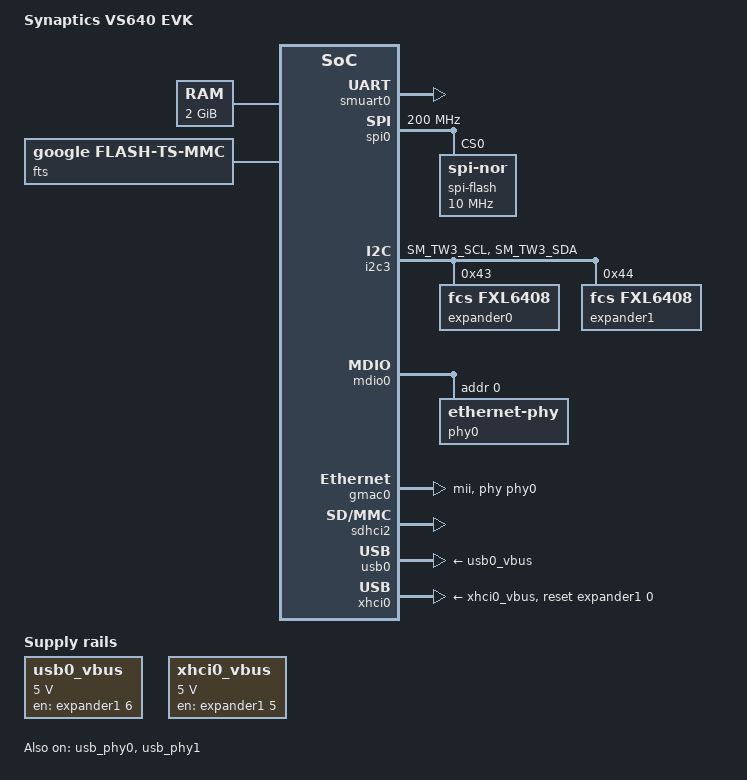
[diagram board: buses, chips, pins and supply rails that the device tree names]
/* SPDX-License-Identifier: GPL-2.0+ */
/*
 * Copyright (C) 2019 Synaptics Incorporated
 *
 * Author: Shaojun Feng <Shaojun.Feng@synaptics.com>
 *
 */

/dts-v1/;

#include "vs640.dtsi"
#include "include/dt-bindings/gpio/gpio.h"
#include "berlin-fastboot-gui.dtsi"

/ {
	model = "Synaptics VS640 EVK";
	compatible = "Synaptics,vs640", "Synaptics,asserial";

	memory {
		device_type = "memory";
		reg = <0 0 0 0x80000000>;
	};

	fts {
		compatible = "google,flash-ts-mmc";
	};

	chosen {
        stdout-path = &smuart0;
    };

	regulators {
		compatible = "simple-bus";
		#address-cells = <1>;
		#size-cells = <0>;

		usb0_vbus: regulator@0 {
			compatible = "regulator-fixed";
			regulator-name = "usb0_vbus";
			regulator-min-microvolt = <5000000>;
			regulator-max-microvolt = <5000000>;
			gpio = <&expander1 6 GPIO_ACTIVE_HIGH>;
			enable-active-high;
		};

		xhci0_vbus: xhci0_vbus {
			compatible = "regulator-fixed";
			regulator-name = "xhci0_vbus";
			regulator-min-microvolt = <5000000>;
			regulator-max-microvolt = <5000000>;
			gpio = <&expander1 5 GPIO_ACTIVE_HIGH>;
			enable-active-high;
		};
	};
};

&sysmgr_pinctrl {
	sm_i2c_tw3_pmux: sm_i2c_tw3_pmux {
		groups = "SM_TW3_SCL", "SM_TW3_SDA";
		function = "tw3";
	};
};

&pinctrl {
	usb_vbus_pmux: usb_vbus_pmux {
		groups = "USB2_DRV_VBUS";
		function = "gpio";
	};
};

&CPU_SLEEP_0 {
	status = "disabled";
};

&smuart0 {
	status = "okay";
};

&spi0 {
	status = "okay";
	max-write-size = <128>;
	clock-frequency = <200000000>;
	spi-flash@0 {
		#address-cells = <1>;
		#size-cells = <1>;
		compatible = "jedec,spi-nor";
		reg = <0>;
		memory-map = <0x0 0xf0000000 0x0 0x4000000>;
		spi-max-frequency = <10000000>;
        };
};

&i2c3 {
	status = "okay";
	pinctrl-names = "default";
	pinctrl-0 = <&sm_i2c_tw3_pmux>;
	expander0: gpio@43 {
		compatible = "fcs,fxl6408";
		reg = <0x43>;
		gpio-controller;
		#gpio-cells = <2>;
	};

	expander1: gpio@44 {
		compatible = "fcs,fxl6408";
		reg = <0x44>;
		gpio-controller;
		#gpio-cells = <2>;
	};
};

&mdio0 {
	phy0: ethernet-phy@0 {
		reg = <0>;
	};
};

&gmac0 {
	status = "okay";
	max-speed = <100>;
	phy-mode = "mii";
	phy-handle = <&phy0>;
	phy = <&phy0>;
};

&sdhci2 {
    status = "okay";
	max-frequency = <50000000>;
	cap-mmc-highspeed;
	1_8v-signalling;
};

&usb_phy0 {
	status = "okay";
};

&usb0 {
	vbus-supply = <&usb0_vbus>;
	status = "okay";
};

&usb_phy1 {
	status = "okay";
};

&xhci0 {
	vbus-supply = <&xhci0_vbus>;
	snps,reset-gpio = <&expander1 0 GPIO_ACTIVE_HIGH>;
	snps,reset-active-high;
	status = "okay";
};

